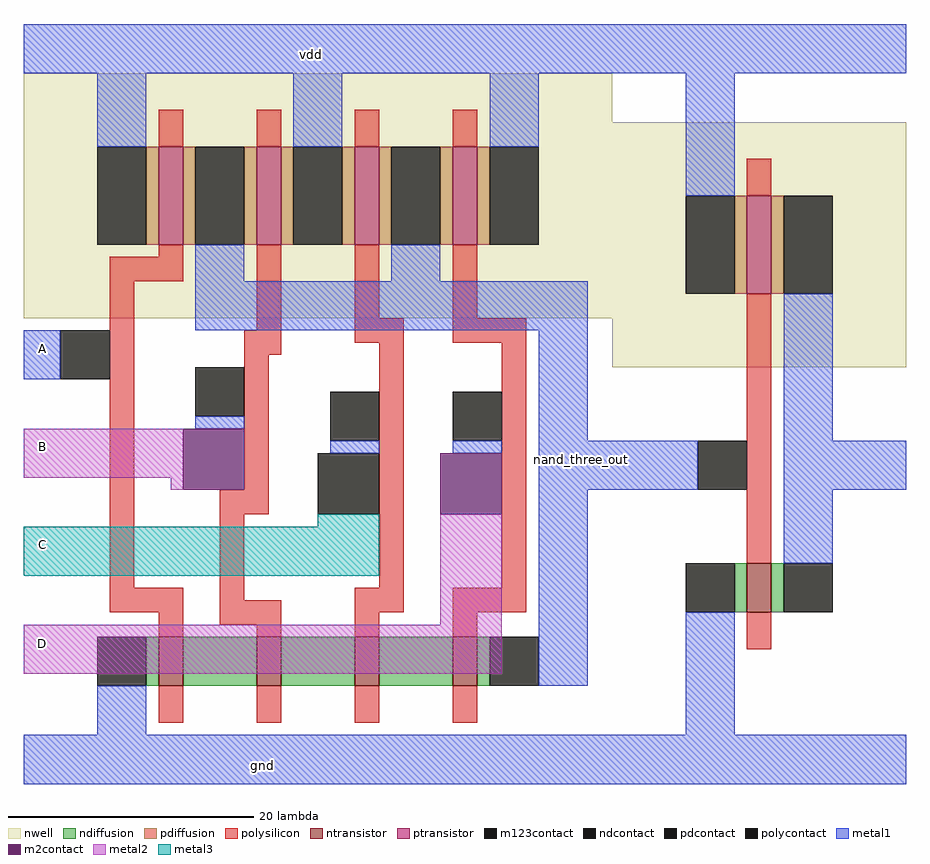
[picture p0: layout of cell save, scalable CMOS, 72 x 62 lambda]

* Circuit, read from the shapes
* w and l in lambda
.subckt save A B C D gnd nand_three_out vdd
M1 n1 A gnd VSUBS nfet w=4 l=2
M2 n2 B n1 VSUBS nfet w=4 l=2
M3 n3 C n2 VSUBS nfet w=4 l=2
M4 nand_three_out D n3 VSUBS nfet w=4 l=2
M5 inverter_0/Inv_out nand_three_out gnd VSUBS nfet w=4 l=2
M6 nand_three_out A vdd n4 pfet w=8 l=2
M7 vdd B nand_three_out n4 pfet w=8 l=2
M8 nand_three_out C vdd n4 pfet w=8 l=2
M9 vdd D nand_three_out n4 pfet w=8 l=2
M10 inverter_0/Inv_out nand_three_out vdd n4 pfet w=8 l=2
.ends

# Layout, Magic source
magic
tech scmos
<< nwell >>
rect 80 38 128 58
<< ntransistor >>
rect 91 8 93 12
rect 99 8 101 12
rect 107 8 109 12
rect 115 8 117 12
<< ptransistor >>
rect 91 44 93 52
rect 99 44 101 52
rect 107 44 109 52
rect 115 44 117 52
<< ndiffusion >>
rect 90 8 91 12
rect 93 8 99 12
rect 101 8 107 12
rect 109 8 115 12
rect 117 8 118 12
<< pdiffusion >>
rect 90 44 91 52
rect 93 44 94 52
rect 98 44 99 52
rect 101 44 102 52
rect 106 44 107 52
rect 109 44 110 52
rect 114 44 115 52
rect 117 44 118 52
<< ndcontact >>
rect 86 8 90 12
rect 118 8 122 12
<< pdcontact >>
rect 86 44 90 52
rect 94 44 98 52
rect 102 44 106 52
rect 110 44 114 52
rect 118 44 122 52
<< polysilicon >>
rect 91 52 93 55
rect 99 52 101 55
rect 107 52 109 55
rect 115 52 117 55
rect 91 43 93 44
rect 87 41 93 43
rect 87 16 89 41
rect 99 37 101 44
rect 98 35 101 37
rect 107 38 109 44
rect 115 38 117 44
rect 107 36 111 38
rect 115 36 121 38
rect 98 24 100 35
rect 96 22 100 24
rect 87 14 93 16
rect 91 12 93 14
rect 96 15 98 22
rect 109 16 111 36
rect 119 16 121 36
rect 96 13 101 15
rect 99 12 101 13
rect 107 14 111 16
rect 115 14 121 16
rect 107 12 109 14
rect 115 12 117 14
rect 91 5 93 8
rect 99 5 101 8
rect 107 5 109 8
rect 115 5 117 8
<< polycontact >>
rect 83 33 87 37
rect 94 30 98 34
rect 105 28 109 32
rect 115 28 119 32
<< metal1 >>
rect 80 58 128 62
rect 86 52 90 58
rect 102 52 106 58
rect 118 52 122 58
rect 94 41 98 44
rect 110 41 114 44
rect 94 37 126 41
rect 80 33 83 37
rect 94 29 98 30
rect 105 27 109 28
rect 115 27 119 28
rect 122 28 126 37
rect 122 24 128 28
rect 122 8 126 24
rect 86 4 90 8
rect 80 0 128 4
<< m2contact >>
rect 93 24 98 29
rect 114 22 119 27
<< metal2 >>
rect 80 25 93 29
rect 92 24 93 25
rect 114 13 119 22
rect 80 9 119 13
<< m123contact >>
rect 104 22 109 27
<< metal3 >>
rect 104 21 109 22
rect 80 17 109 21
use inverter  inverter_0
transform 1 0 128 0 1 34
box 0 -34 24 28
<< labels >>
rlabel metal1 103 59 104 60 5 vdd
rlabel metal1 99 1 100 2 1 gnd
rlabel metal1 81 35 82 36 1 A
rlabel metal2 81 27 82 28 1 B
rlabel metal3 81 19 82 20 1 C
rlabel metal2 81 11 82 12 1 D
rlabel metal1 125 26 126 27 7 nand_three_out
<< end >>

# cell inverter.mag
magic
tech scmos
<< nwell >>
rect 0 0 24 20
<< ntransistor >>
rect 11 -20 13 -16
<< ptransistor >>
rect 11 6 13 14
<< ndiffusion >>
rect 10 -20 11 -16
rect 13 -20 14 -16
<< pdiffusion >>
rect 10 6 11 14
rect 13 6 14 14
<< ndcontact >>
rect 6 -20 10 -16
rect 14 -20 18 -16
<< pdcontact >>
rect 6 6 10 14
rect 14 6 18 14
<< polysilicon >>
rect 11 14 13 17
rect 11 -16 13 6
rect 11 -23 13 -20
<< polycontact >>
rect 7 -10 11 -6
<< metal1 >>
rect 0 24 24 28
rect 6 14 10 24
rect 14 -6 18 6
rect 0 -10 7 -6
rect 14 -10 24 -6
rect 14 -16 18 -10
rect 6 -30 10 -20
rect 0 -34 24 -30
<< labels >>
rlabel metal1 3 -9 4 -8 3 INP
rlabel metal1 14 -31 15 -30 1 gnd
rlabel metal1 13 25 14 26 5 vdd
rlabel metal1 17 -9 18 -8 1 Inv_out
<< end >>
